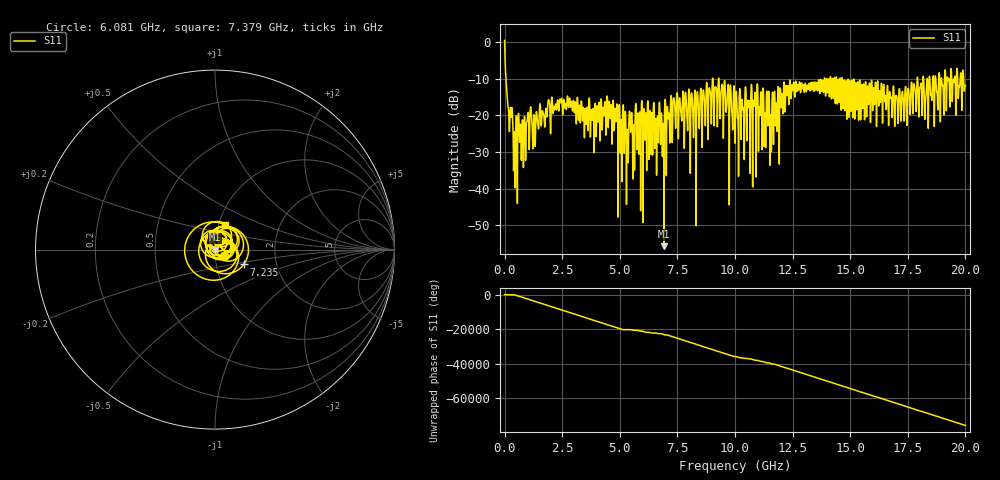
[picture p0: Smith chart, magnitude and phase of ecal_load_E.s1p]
! MS46122B
! 2250307/22442219
! 7/27/2025 9:15:03 AM
! C:\USERS\SPARKY\DOCUMENTS\VNA_DATA\JULY27_2025\3K\ECAL_LOAD_E.S1P
! CHANNEL.1
! TR.MEASUREMENT
! RAW.DATA
# GHZ S RI R 50.0
! FREQ.GHZ  S11RE  S11IM
!; PortSelection: Port_1
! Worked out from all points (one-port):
!   10001 points, 1 MHz to 20 GHz, reference 50 ohm
!   lowest |S11| = -55.7 dB at 6.917 GHz (marker M1), VSWR 1.00, Z = 49.8 - j0.0116 ohm
!   |S11| at or under -10 dB: 57.52 MHz to 9.026 GHz (8.969 GHz wide, 197 % of centre); 9.3 GHz to 13.88 GHz (4.58 GHz wide, 39.5 % of centre); 14.66 GHz to 17.91 GHz (3.249 GHz wide, 20 % of centre) (the widest 3 of 26)
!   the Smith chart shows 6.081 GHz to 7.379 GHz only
!   S11 on the Smith chart (normalised r, x): 6.081 GHz: 1.10, -0.08; 7.235 GHz: 1.36, -0.23; 7.379 GHz: 1.08, +0.30
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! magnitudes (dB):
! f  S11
! 1 MHz  0.4
! 145 MHz  -17.3
! 469 MHz  -34.2
! 1.073 GHz  -29.2
! 1.269 GHz  -20.4
! 1.869 GHz  -17.4
! 2.501 GHz  -17.6
! 3.807 GHz  -21.2
! 4.529 GHz  -16.8
! 5.001 GHz  -20.5
! 6.081 GHz  -24.5
! 6.917 GHz  -55.7
! 7.235 GHz  -14.9
! 7.379 GHz  -16.6
! 7.501 GHz  -14.3
! 8.389 GHz  -14.7
! 9.101 GHz  -18.2
! 10 GHz  -22.6
! 10.08 GHz  -17.2
! 10.52 GHz  -22.8
! 10.84 GHz  -16.9
! 10.9 GHz  -17.7
! 11.59 GHz  -21.1
! 11.7 GHz  -15.0
! 12.5 GHz  -13.1
! 15 GHz  -11.2
! 17.5 GHz  -13.3
! 20 GHz  -11.9
